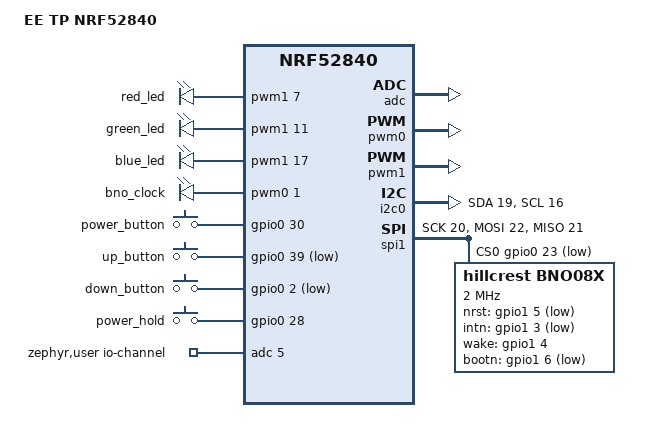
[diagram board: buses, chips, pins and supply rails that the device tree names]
/dts-v1/;
#include <nordic/nrf52840_qiaa.dtsi>

/ {
	model = "EE TP NRF52840";
	compatible = "prv,ee-tp-nrf52840";

	aliases {
		red-pwm-led = &red_led;
		green-pwm-led = &green_led;
		blue-pwm-led = &blue_led;

		bno-clock = &bno_clock;
	};

	chosen {
		zephyr,sram = &sram0;
		zephyr,flash = &flash0;
		zephyr,code-partition = &slot0_partition;
	};

	pwm_leds {
		compatible = "pwm-leds";
		status = "okay";

		red_led: led_pwm_0 {
            status = "okay";
			pwms = <&pwm1 7>;
			label = "red_led";
		};
		green_led: led_pwm_1 {
            status = "okay";
			pwms = <&pwm1 11>;
			label = "green_led";
		};
		blue_led: led_pwm_2 {
            status = "okay";
			pwms = <&pwm1 17>;
			label = "blue_led";
		};
	};

	bno_pwm {
		compatible = "pwm-leds";
		status = "okay";

		bno_clock: bno_clock {
			status = "okay";
			pwms = <&pwm0 1>;
			label = "bno_clock";
		};
	};

	buttons {
		compatible = "gpio-keys";
		power_button: gpio_0_30 {
			gpios = <&gpio0 30 GPIO_ACTIVE_HIGH>;
			label = "power_button";
		};
		up_button: gpio_1_07 {
			gpios = <&gpio0 39 /* 1.07 */ (GPIO_PULL_UP | GPIO_ACTIVE_LOW)>;
			label = "up_button";
		};
		down_button: gpio_0_2 {
			gpios = <&gpio0 2 (GPIO_PULL_UP | GPIO_ACTIVE_LOW)>;
			label = "down_button";
		};
	};

	pins {
		compatible = "gpio-keys";

		power_hold: gpio_0_28 {
			gpios = <&gpio0 28 GPIO_ACTIVE_HIGH>;
			label = "power_hold";
		};
	};

	zephyr,user {
	    io-channels = <&adc 5>;
	};
};

&adc {
    status = "okay";
};

&gpiote {
	status = "okay";
};

&gpio0 {
	status = "okay";
};

&gpio1 {
	status = "okay";
};

&pwm0 {
	status = "okay";
	ch0-pin = <1>;
//	ch1-pin = <11>;
//	ch2-pin = <17>;
};

&pwm1 {
	status = "okay";
	ch0-pin = <7>;
	ch1-pin = <11>;
	ch2-pin = <17>;
};

battery_monitor_i2c: &i2c0 {
	compatible = "nordic,nrf-twim";
	status = "okay";
	sda-pin = <19>;
	scl-pin = <16>;
};

dac_spi: &spi1 {
	compatible = "nordic,nrf-spim";
	status = "okay";

	sck-pin = <20 /* P1.00 */>;
	miso-pin = <21>;
	mosi-pin = <22>;
	
	cs-gpios = <&gpio0 23 (GPIO_ACTIVE_LOW | GPIO_PULL_UP)>;

	miso-pull-up;

    bno08x@0 {
        compatible = "hillcrest,bno08x";
        reg = <0>;
        spi-max-frequency = <2000000>; /* TODO: Need confirmation. */

        nrst-gpios  = <&gpio1 5 GPIO_ACTIVE_LOW>;
        intn-gpios  = <&gpio1 3 GPIO_ACTIVE_LOW>;
        wake-gpios  = <&gpio1 4 GPIO_ACTIVE_HIGH>;
        bootn-gpios = <&gpio1 6 GPIO_ACTIVE_LOW>;

        label = "BNO08X";
    };


};

&flash0 {

	partitions {
		compatible = "fixed-partitions";
		#address-cells = <1>;
		#size-cells = <1>;

                /*
                 * La la la these values don't actually matter.
                 * Actual flash layout is defined in pm_static.yml
                 * because ncs uses partition_manager.
                 */

		boot_partition: partition@0 {
			label = "mcuboot";
			reg = <0x000000000 0x00008000>;
		};
		slot0_partition: partition@8000 {
			label = "image-0";
			reg = <0x00008000 0x00040000>;
		};
		slot1_partition: partition@48000 {
			label = "image-1";
			reg = <0x00048000 0x00040000>;
		};

		/*
		 * The flash starting at 0x000f8000 and ending at
		 * 0x000fffff is reserved for use by the application.
		 */

		/*
		 * Storage partition will be used by FCB/LittleFS/NVS
		 * if enabled.
		 */
		storage_partition: partition@f8000 {
			label = "storage";
			reg = <0x000f8000 0x00008000>;
		};
	};
};
